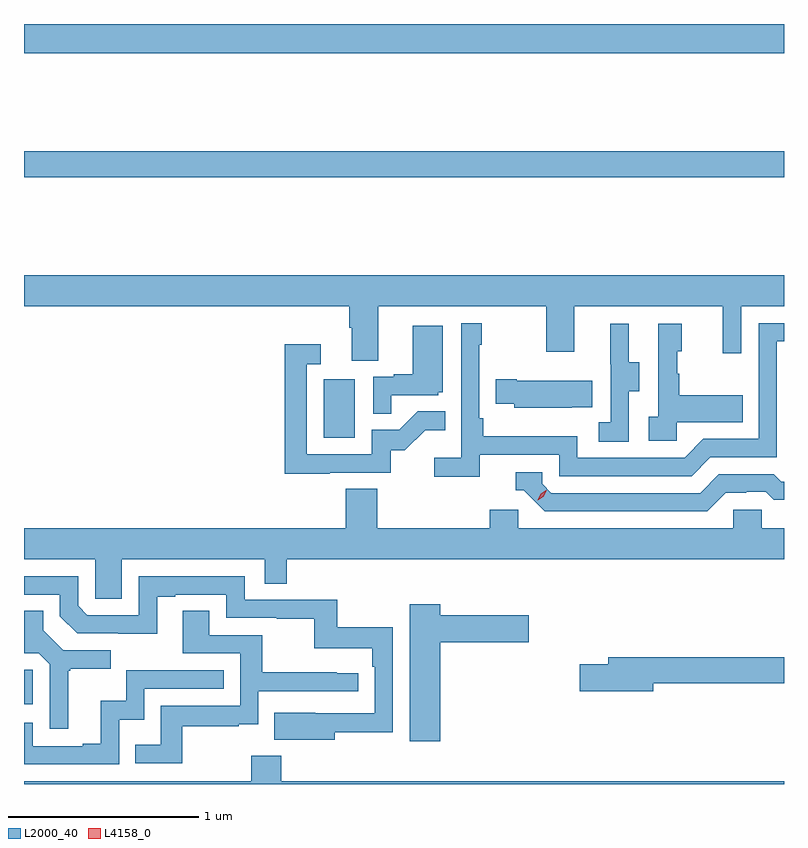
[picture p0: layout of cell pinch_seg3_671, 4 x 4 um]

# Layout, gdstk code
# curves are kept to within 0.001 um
import gdstk
lib = gdstk.Library(unit=1e-6, precision=1e-09)
def R(c, l, rs):  # rectangles x0, y0, x1, y1
    for r in rs: c.add(gdstk.rectangle(r[:2], r[2:], *l))
def P(c, l, *ps):  # polygons
    for p in ps: c.add(gdstk.Polygon(p, *l))
L2000_40 = (2000, 40)
L4158_0 = (4158, 0)

pinch_seg3_671 = lib.new_cell('pinch_seg3_671')
R(pinch_seg3_671, L2000_40, [(1128.555,673.515,1128.6,673.695), (1130.132,674.916,1130.296,675.223), (1128.555,676.288,1132.555,676.424), (1128.555,676.94,1132.555,677.094)])
P(pinch_seg3_671, L2000_40, [(1130.419,675.608),(1131.304,675.608),(1131.304,675.369),(1131.451,675.369),(1131.451,675.608),(1132.232,675.608),(1132.232,675.36),(1132.329,675.36),(1132.329,675.608),(1132.555,675.608),(1132.555,675.772),(1128.555,675.772),(1128.555,675.608),(1130.267,675.608),(1130.267,675.496),(1130.279,675.496),(1130.279,675.322),(1130.419,675.322)],
  [(1130.954,674.826),(1131.372,674.826),(1131.372,674.715),(1132.069,674.715),(1132.168,674.814),(1132.518,674.814),(1132.518,675.423),(1132.555,675.423),(1132.555,675.519),(1132.422,675.519),(1132.422,674.91),(1132.131,674.91),(1132.032,674.811),(1131.468,674.811),(1131.468,674.923),(1130.972,674.923),(1130.972,675.019),(1130.952,675.019),(1130.952,675.407),(1130.965,675.407),(1130.965,675.52),(1130.856,675.52),(1130.856,674.812),(1130.715,674.812),(1130.715,674.71),(1130.954,674.71)],
  [(1131.99,674.999),(1132.337,674.999),(1132.337,675.139),(1132.003,675.139),(1132.003,675.254),(1131.993,675.254),(1131.993,675.372),(1132.018,675.372),(1132.018,675.517),(1131.894,675.517),(1131.894,675.026),(1131.843,675.026),(1131.843,674.901),(1131.99,674.901)],
  [(1131.738,675.16),(1131.793,675.16),(1131.793,675.315),(1131.739,675.315),(1131.739,675.517),(1131.641,675.517),(1131.641,675.303),(1131.642,675.303),(1131.642,674.999),(1131.579,674.999),(1131.579,674.896),(1131.738,674.896)],
  [(1130.489,675.141),(1130.736,675.141),(1130.736,675.156),(1130.758,675.156),(1130.758,675.505),(1130.6,675.505),(1130.6,675.25),(1130.501,675.25),(1130.501,675.237),(1130.394,675.237),(1130.394,675.043),(1130.489,675.043)],
  [(1130.165,674.733),(1130.484,674.733),(1130.484,674.85),(1130.56,674.85),(1130.667,674.957),(1130.771,674.957),(1130.771,675.056),(1130.627,675.056),(1130.529,674.958),(1130.385,674.958),(1130.385,674.829),(1130.043,674.829),(1130.043,675.303),(1130.116,675.303),(1130.116,675.409),(1129.927,675.409),(1129.927,674.728),(1130.165,674.728)],
  [(1131.437,675.077),(1131.545,675.077),(1131.545,675.217),(1131.148,675.217),(1131.148,675.225),(1131.037,675.225),(1131.037,675.095),(1131.135,675.095),(1131.135,675.074),(1131.437,675.074)],
  [(1132.249,674.628),(1132.356,674.628),(1132.356,674.631),(1132.459,674.631),(1132.501,674.589),(1132.555,674.589),(1132.555,674.685),(1132.54,674.685),(1132.501,674.724),(1132.212,674.724),(1132.113,674.625),(1131.33,674.625),(1131.282,674.673),(1131.282,674.736),(1131.143,674.736),(1131.143,674.64),(1131.186,674.64),(1131.297,674.529),(1132.15,674.529)],
  [(1129.069,674.276),(1129.821,674.276),(1129.821,674.149),(1129.937,674.149),(1129.937,674.276),(1132.555,674.276),(1132.555,674.44),(1132.437,674.44),(1132.437,674.538),(1132.287,674.538),(1132.287,674.44),(1131.156,674.44),(1131.156,674.538),(1131.005,674.538),(1131.005,674.44),(1130.414,674.44),(1130.414,674.648),(1130.249,674.648),(1130.249,674.44),(1128.555,674.44),(1128.555,674.276),(1128.93,674.276),(1128.93,674.068),(1129.069,674.068)],
  [(1130.191,673.366),(1130.496,673.366),(1130.496,673.918),(1130.203,673.918),(1130.203,674.064),(1129.716,674.064),(1129.716,674.187),(1129.158,674.187),(1129.158,673.983),(1128.888,673.983),(1128.84,674.031),(1128.84,674.187),(1128.555,674.187),(1128.555,674.091),(1128.744,674.091),(1128.744,673.977),(1128.834,673.887),(1129.255,673.886),(1129.255,674.079),(1129.351,674.079),(1129.351,674.091),(1129.62,674.091),(1129.62,673.968),(1129.885,673.968),(1129.885,673.963),(1130.082,673.963),(1130.082,673.808),(1130.387,673.808),(1130.387,673.712),(1130.4,673.712),(1130.4,673.467),(1129.873,673.468),(1129.873,673.328),(1130.191,673.328)],
  [(1130.746,673.841),(1131.211,673.841),(1131.211,673.983),(1130.746,673.983),(1130.746,674.041),(1130.585,674.041),(1130.585,673.32),(1130.746,673.32)],
  [(1129.387,673.398),(1129.685,673.398),(1129.685,673.409),(1129.788,673.409),(1129.788,673.581),(1130.314,673.581),(1130.314,673.677),(1130.201,673.677),(1130.201,673.682),(1129.808,673.682),(1129.808,673.878),(1129.531,673.878),(1129.531,674.006),(1129.391,674.006),(1129.391,673.782),(1129.692,673.782),(1129.692,673.506),(1129.276,673.506),(1129.276,673.3),(1129.141,673.3),(1129.141,673.203),(1129.387,673.203)],
  [(1128.787,673.689),(1128.799,673.689),(1128.799,673.7),(1129.012,673.7),(1129.012,673.797),(1128.762,673.797),(1128.655,673.904),(1128.655,674.006),(1128.555,674.006),(1128.555,673.782),(1128.633,673.782),(1128.69,673.725),(1128.69,673.386),(1128.787,673.386)],
  [(1131.868,673.624),(1132.555,673.624),(1132.555,673.76),(1131.629,673.76),(1131.629,673.724),(1131.48,673.724),(1131.48,673.582),(1131.868,673.582)],
  [(1129.056,673.433),(1129.188,673.433),(1129.188,673.596),(1129.607,673.596),(1129.607,673.692),(1129.092,673.692),(1129.092,673.531),(1128.959,673.531),(1128.959,673.306),(1128.863,673.306),(1128.863,673.293),(1128.6,673.293),(1128.6,673.416),(1128.555,673.416),(1128.555,673.197),(1129.056,673.197)],
  [(1132.555,673.108),(1129.91,673.108),(1129.91,673.243),(1129.75,673.243),(1129.75,673.108),(1128.555,673.108),(1128.555,673.094),(1132.555,673.094)])
P(pinch_seg3_671, L4158_0, [(1131.258,674.588),(1131.258,674.588),(1131.274,674.621),(1131.304,674.64),(1131.305,674.64),(1131.305,674.64),(1131.289,674.607),(1131.258,674.588)])

lib.write_gds('pinch_seg3_671.gds')
